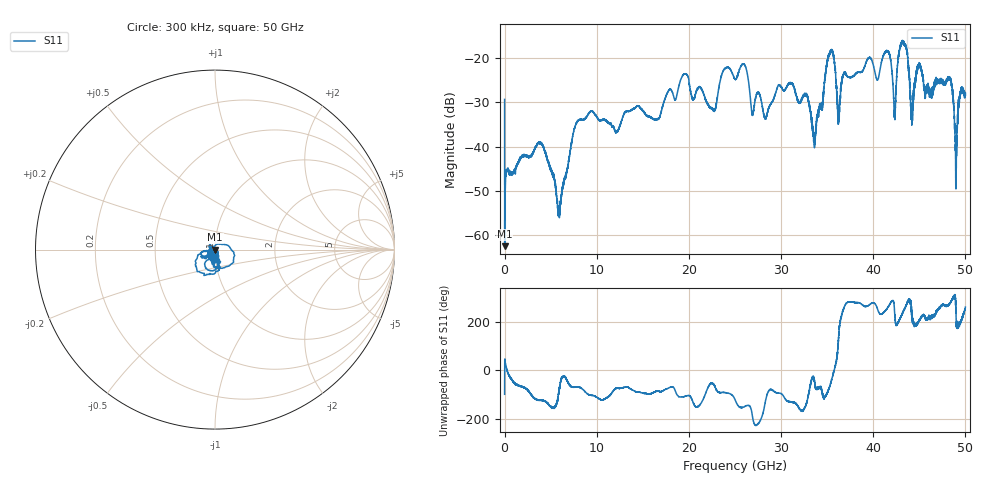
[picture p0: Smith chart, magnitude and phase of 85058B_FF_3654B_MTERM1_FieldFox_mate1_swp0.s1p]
!Created with skrf (http://scikit-rf.org).
# Hz S RI R 50.0
!freq ReS11 ImS11
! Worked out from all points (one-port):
!   10001 points, 300 kHz to 50 GHz, reference 50 ohm
!   lowest |S11| = -62.5 dB at 10.3 MHz (marker M1), VSWR 1.00, Z = 50.1 - j0.0174 ohm
!   |S11| at or under -10 dB: start of sweep to end of sweep
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300000  -0.0051 -0.0338
1.029994e7  0.00073 -0.000173
2.552985e8  0.00545 0.00022
3.815277e9  -0.00569 -0.00908
6.250262e9  0.00291 -0.00161
7.960252e9  0.00724 -0.0184
1.250022e10  0.00475 -0.0164
1.875019e10  -0.00928 -0.0396
2.266516e10  0.0142 -0.0209
2.381516e10  -0.00136 -0.0745
2.500015e10  -0.0297 -0.0502
2.600514e10  -0.0736 -0.0423
2.686514e10  -0.0228 0.000942
2.829513e10  -0.0127 -0.0163
3.125011e10  -0.034 -0.038
3.35951e10  0.0086 -0.00803
3.531509e10  0.0573 -0.0988
3.622508e10  -0.0109 0.0188
3.750008e10  0.0137 -0.0587
4.153005e10  -0.0257 -0.1171
4.231505e10  -0.0104 -0.0185
4.303004e10  -0.1 -0.0968
4.375004e10  0.0353 -0.0965
4.420003e10  -0.0174 -0.0141
4.494503e10  -0.0741 -0.0304
4.827501e10  0.00368 -0.0582
4.897501e10  -0.000934 -0.00319
5e10  -0.00542 -0.0377
